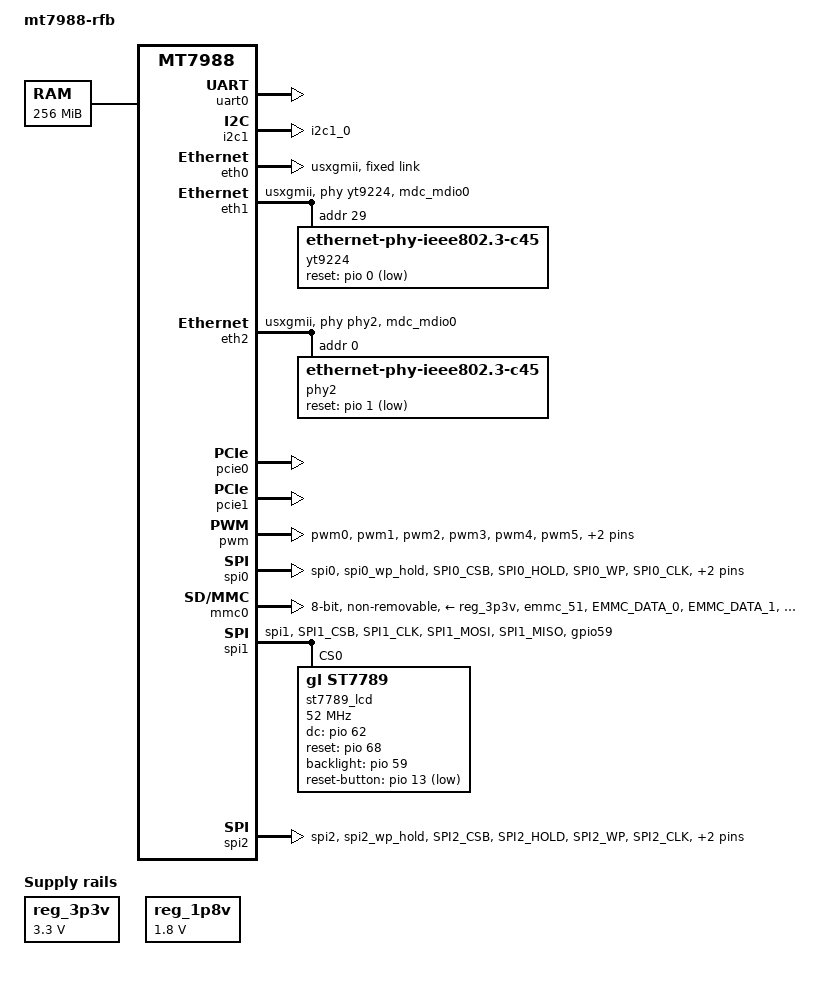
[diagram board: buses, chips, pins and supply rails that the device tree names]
// SPDX-License-Identifier: (GPL-2.0 OR MIT)

/dts-v1/;
#include "mt7988.dtsi"
#include "mt7988-u-boot.dtsi"
#include <dt-bindings/input/input.h>
#include <dt-bindings/gpio/gpio.h>

/ {
        model = "mt7988-rfb";
        compatible = "mediatek,mt7988-rfb";

        chosen {
                stdout-path = &uart0;
        };

        memory@40000000 {
                device_type = "memory";
                reg = <0 0x40000000 0 0x10000000>;
        };

	config {
        	bootcmd = "mtkboardboot";
        	environment {
            		lu = "mtkupgrade fip uboot-gl-be14000.bin";
            		lf = "mtkupgrade fw openwrt-gl-be14000.bin";
			ethpluglock = "yes";
			ethswlinkwait = "300";
			ethphyanegwait = "300";
		};
	};

        reg_3p3v: regulator-3p3v {
                compatible = "regulator-fixed";
                regulator-name = "fixed-3.3V";
                regulator-min-microvolt = <3300000>;
                regulator-max-microvolt = <3300000>;
                regulator-boot-on;
                regulator-always-on;
        };

        reg_1p8v: regulator-1p8v {
                compatible = "regulator-fixed";
                regulator-name = "fixed-1.8V";
                regulator-min-microvolt = <1800000>;
                regulator-max-microvolt = <1800000>;
                regulator-boot-on;
                regulator-always-on;
        };
};

&uart0 {
        status = "okay";
};

&i2c1 {
        pinctrl-names = "default";
        pinctrl-0 = <&i2c1_pins>;
        status = "okay";
};

&eth0 {
        status = "okay";
        phy-mode = "usxgmii";
        mediatek,switch = "mt7988";

        fixed-link {
                speed = <10000>;
                full-duplex;
                pause;
        };
};

&eth1 {
        status = "okay";
        pinctrl-names = "default";
        pinctrl-0 = <&mdio_pins>;
        phy-mode = "usxgmii";
        phy-handle = <&yt9224>;
        mediatek,switch = "yt9224";
        /delete-property/ mediatek,mcm;

        mdio {
                clock-frequency = <10500000>;
        };

        yt9224: ethernet-phy@29 {
                compatible = "ethernet-phy-ieee802.3-c45";
                reg = <29>;
                status = "okay";
                reset-gpios = <&pio 0 GPIO_ACTIVE_LOW>;
                reset-assert-us = <100000>;
                reset-deassert-us = <2210000>;
        };
};

&eth2 {
        status = "okay";
        pinctrl-names = "default";
        pinctrl-0 = <&mdio_pins>;
        phy-mode = "usxgmii";
        phy-handle = <&phy2>;

        mdio {
                clock-frequency = <10500000>;
        };

        phy2: ethernet-phy@0 {
                compatible = "ethernet-phy-ieee802.3-c45";
                reg = <0>;
                reset-gpios = <&pio 1 GPIO_ACTIVE_LOW>;
                reset-assert-us = <100000>;
                reset-deassert-us = <300000>;
                mdi-reversal = /bits/ 16 <1>;
        };
};

&pcie0 {
        status = "okay";
};

&pcie1 {
        status = "okay";
};

/* PCIE2 not working in u-boot */
&pcie2 {
        status = "disabled";
};

/* PCIE3 not working in u-boot */
&pcie3 {
        status = "disabled";
};

&pio {
        mdio_pins: mdio_pins {
                conf-mdc {
                        groups = "mdc_mdio0";
                        drive-strength = <MTK_DRIVE_10mA>;
                };
        };

        i2c1_pins: i2c1-pins {
                mux {
                        function = "i2c";
                        groups = "i2c1_0";
                };
        };

        pwm_pins: pwm-pins {
                mux {
                        function = "pwm";
                        groups = "pwm0", "pwm1", "pwm2", "pwm3", "pwm4",
                                 "pwm5", "pwm6", "pwm7";
                };
        };

        spi0_pins: spi0-pins {
                mux {
                        function = "spi";
                        groups = "spi0", "spi0_wp_hold";
                };

                conf-pu {
                        pins = "SPI0_CSB", "SPI0_HOLD", "SPI0_WP";
                        drive-strength = <MTK_DRIVE_8mA>;
                        bias-pull-up = <MTK_PUPD_SET_R1R0_11>;
                };

                conf-pd {
                        pins = "SPI0_CLK", "SPI0_MOSI", "SPI0_MISO";
                        drive-strength = <MTK_DRIVE_8mA>;
                        bias-pull-down = <MTK_PUPD_SET_R1R0_11>;
                };

        };
	/*
	 * MT7988 has no spi1_wp_hold (only spi0/spi2 wp_hold). Invalid group
	 * breaks mux; match Linux mt7988a.dtsi (spi1-only).
	 */
	spi1_pins: spi1-pins {
		mux {
			function = "spi";
			groups = "spi1";
		};

		conf-pu {
			pins = "SPI1_CSB";
			drive-strength = <MTK_DRIVE_8mA>;
			bias-pull-up = <MTK_PUPD_SET_R1R0_11>;
		};

		conf-pd {
			pins = "SPI1_CLK", "SPI1_MOSI", "SPI1_MISO";
			drive-strength = <MTK_DRIVE_8mA>;
			bias-pull-down = <MTK_PUPD_SET_R1R0_11>;
		};
	};

	jtag_disable: jtag_disable {
		mux {
			function = "jtag";
			groups = "gpio59";
		};
	};


        spi2_pins: spi2-pins {
                mux {
                        function = "spi";
                        groups = "spi2", "spi2_wp_hold";
                };

                conf-pu {
                        pins = "SPI2_CSB", "SPI2_HOLD", "SPI2_WP";
                        drive-strength = <MTK_DRIVE_8mA>;
                        bias-pull-up = <MTK_PUPD_SET_R1R0_11>;
                };

                conf-pd {
                        pins = "SPI2_CLK", "SPI2_MOSI", "SPI2_MISO";
                        drive-strength = <MTK_DRIVE_8mA>;
                        bias-pull-down = <MTK_PUPD_SET_R1R0_11>;
                };
        };

        mmc0_pins_default: mmc0default {
                mux {
                        function = "flash";
                        groups =  "emmc_51";
                };

                conf-cmd-dat {
                        pins = "EMMC_DATA_0", "EMMC_DATA_1", "EMMC_DATA_2",
                               "EMMC_DATA_3", "EMMC_DATA_4", "EMMC_DATA_5",
                               "EMMC_DATA_6", "EMMC_DATA_7", "EMMC_CMD";
                        input-enable;
                        drive-strength = <MTK_DRIVE_12mA>;
                        mediatek,pull-up-adv = <1>;     /* pull-up 10K */
                };

                conf-clk {
                        pins = "EMMC_CK";
                        drive-strength = <MTK_DRIVE_12mA>;
                        mediatek,pull-down-adv = <2>;   /* pull-down 50K */
                };

                conf-dsl {
                        pins = "EMMC_DSL";
                        mediatek,pull-down-adv = <2>;   /* pull-down 50K */
                };

                conf-rst {
                        pins = "EMMC_RSTB";
                        drive-strength = <MTK_DRIVE_12mA>;
                        mediatek,pull-up-adv = <1>;     /* pull-up 10K */
                };
        };
};

//fan
&pwm {
        pinctrl-names = "default";
        pinctrl-0 = <&pwm_pins>;
        status = "okay";
};

&spi0 {
        pinctrl-names = "default";
        pinctrl-0 = <&spi0_pins>;
        #address-cells = <1>;
        #size-cells = <0>;
        status = "okay";
        must_tx;
        enhance_timing;
        dma_ext;
        ipm_design;
        support_quad;
        tick_dly = <2>;
        sample_sel = <0>;
};

&mmc0 {
        pinctrl-names = "default";
        pinctrl-0 = <&mmc0_pins_default>;
        max-frequency = <52000000>;
        bus-width = <8>;
        cap-mmc-highspeed;
        cap-mmc-hw-reset;
        vmmc-supply = <&reg_3p3v>;
        vqmmc-supply = <&reg_1p8v>;
        non-removable;
        status = "okay";
};

// LCD (mediatek,spi-ipm + four clocks; U-Boot mtk_spim expects parent-clk/sel-clk/spi-clk/hclk)
&spi1 {
	compatible = "mediatek,ipm-spi-single", "mediatek,spi-ipm";
	pinctrl-names = "default";
	pinctrl-0 = <&spi1_pins &jtag_disable>;
	#address-cells = <1>;
	#size-cells = <0>;
	clocks = <&topckgen CLK_TOP_MPLL_D2>,
		 <&topckgen CLK_TOP_SPI_SEL>,
		 <&infracfg CLK_INFRA_104M_SPI1>,
		 <&infracfg CLK_INFRA_66M_SPI1_HCK>;
	clock-names = "parent-clk", "sel-clk", "spi-clk", "hclk";
	status = "okay";
	must_tx;
	enhance_timing;
	dma_ext;
	ipm_design;
	tick_dly = <2>;
	sample_sel = <0>;

	st7789_lcd: st7789@0 {
		compatible = "gl,st7789";
		reg = <0>;
		spi-max-frequency = <52000000>;
		dc-gpios = <&pio 62 GPIO_ACTIVE_HIGH>;
		reset-gpios = <&pio 68 GPIO_ACTIVE_HIGH>;
		backlight-gpios = <&pio 59 GPIO_ACTIVE_HIGH>;
		/* Same pin/polarity as gpio-keys /reset */
		reset-button-gpios = <&pio 13 GPIO_ACTIVE_LOW>;
	};
};

//SFP
&spi2 {
        pinctrl-names = "default";
        pinctrl-0 = <&spi2_pins>;
        #address-cells = <1>;
        #size-cells = <0>;
        status = "okay";
        must_tx;
        enhance_timing;
        dma_ext;
        ipm_design;
        support_quad;
        tick_dly = <2>;
        sample_sel = <0>;
};

